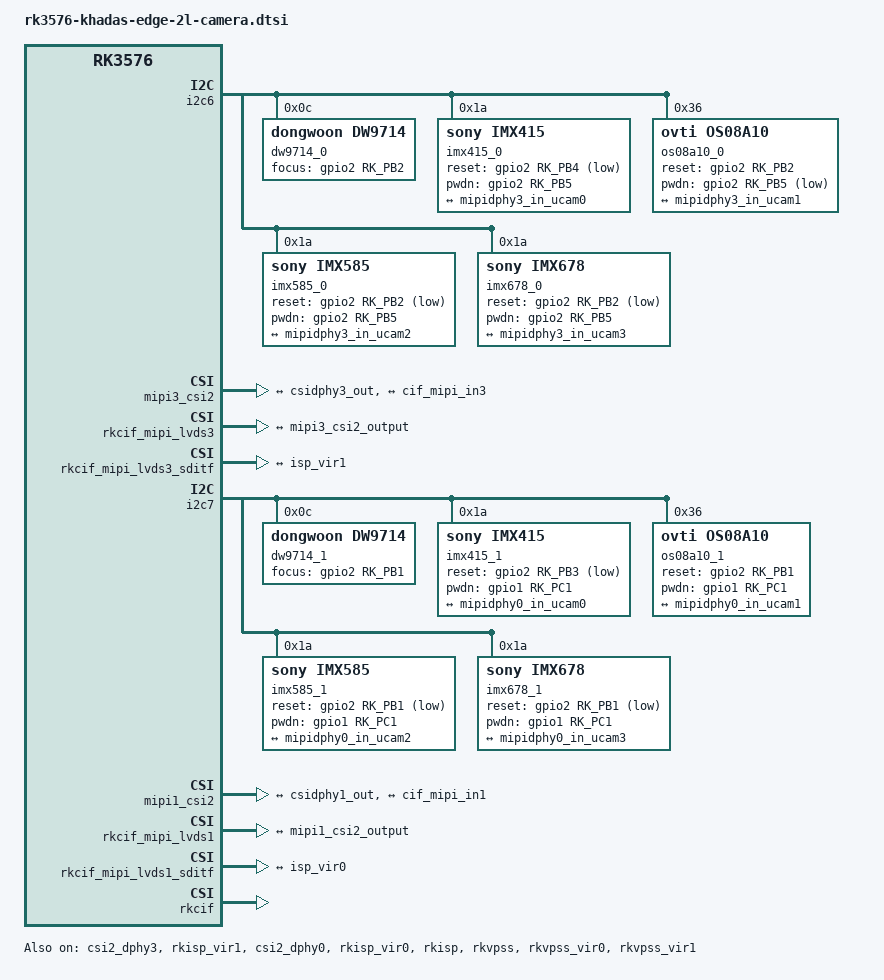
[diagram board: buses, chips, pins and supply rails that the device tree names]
// SPDX-License-Identifier: (GPL-2.0+ OR MIT)
/*
 * Copyright (c) 2025 Wesion Technology Co., Ltd.
 *
 */
/*------------------------- camera0 start------------------------------*/

&i2c6 {
	status = "okay";
	pinctrl-0 = <&i2c6m2_xfer>;

	dw9714_0: dw9714-1@c {
		compatible = "dongwoon,dw9714";
		status = "okay";
		reg = <0x0c>;
		pinctrl-names = "focus_gpio_0";
		pinctrl-0 = <&focus_gpio_0>;
		focus-gpios = <&gpio2 RK_PB2 GPIO_ACTIVE_HIGH>;
		rockchip,vcm-start-current = <0>;
		rockchip,vcm-rated-current = <65>;
		rockchip,vcm-step-mode = <4>;
		rockchip,camera-module-index = <0>;
		rockchip,camera-module-facing = "back";
	};

	imx415_0: imx415-1@1a {
		compatible = "sony,imx415";
		status = "okay";
		reg = <0x1a>;
		clocks = <&cru CLK_MIPI_CAMERAOUT_M1>;
		clock-names = "xvclk";
		pinctrl-names = "default", "cam0_gpios";
		pinctrl-0 = <&cam_clk1m0_clk1>, <&cam0_gpio>;
		power-domains = <&power RK3576_PD_VI>;
		reset-gpios = <&gpio2 RK_PB4 GPIO_ACTIVE_LOW>;
		pwdn-gpios = <&gpio2 RK_PB5 GPIO_ACTIVE_HIGH>;
		rockchip,camera-module-index = <0>;
		rockchip,camera-module-facing = "back";
		rockchip,camera-module-name = "CMK-OT2022-PX1";
		rockchip,camera-module-lens-name = "IR0147-50IRC-8M-F20";
		lens-focus = <&dw9714_0>;
		port {
			imx415_out1: endpoint {
				remote-endpoint = <&mipidphy3_in_ucam0>;
				data-lanes = <1 2 3 4>;
			};
		};
	};

	os08a10_0: os08a10-1@36 {
		compatible = "ovti,os08a10";
		status = "okay";
		reg = <0x36>;
		clocks = <&cru CLK_MIPI_CAMERAOUT_M1>;
		clock-names = "xvclk";
		pinctrl-names = "default", "cam0_gpios";
		pinctrl-0 = <&cam_clk1m0_clk1>, <&cam0_gpio>;
		power-domains = <&power RK3576_PD_VI>;
		reset-gpios = <&gpio2 RK_PB2 GPIO_ACTIVE_HIGH>;
		pwdn-gpios = <&gpio2 RK_PB5 GPIO_ACTIVE_LOW>;
		rockchip,camera-module-index = <0>;
		rockchip,camera-module-facing = "back";
		rockchip,camera-module-name = "default";
		rockchip,camera-module-lens-name = "default";
		port {
			os08a10_out1: endpoint {
				remote-endpoint = <&mipidphy3_in_ucam1>;
				data-lanes = <1 2 3 4>;
			};
		};
	};


	imx585_0: imx585-1@1a {
		compatible = "sony,imx585";
		status = "okay";
		reg = <0x1a>;
		clocks = <&cru CLK_MIPI_CAMERAOUT_M1>;
		clock-names = "xvclk";
		pinctrl-names = "default", "cam0_gpios";
		pinctrl-0 = <&cam_clk1m0_clk1>, <&cam0_gpio>;
		power-domains = <&power RK3576_PD_VI>;
		reset-gpios = <&gpio2 RK_PB2 GPIO_ACTIVE_LOW>;
		pwdn-gpios = <&gpio2 RK_PB5 GPIO_ACTIVE_HIGH>;
		rockchip,camera-module-index = <0>;
		rockchip,camera-module-facing = "back";
		rockchip,camera-module-name = "CMK-IMX585-PX1";
		rockchip,camera-module-lens-name = "FH34SRJ-30SCK0";

		port {
			imx585_out1: endpoint {
				remote-endpoint = <&mipidphy3_in_ucam2>;
				data-lanes = <1 2 3 4>;
			};
		};
	};


	imx678_0: imx678-1@1a {
		compatible = "sony,imx678";
		status = "okay";
		reg = <0x1a>;
		clocks = <&cru CLK_MIPI_CAMERAOUT_M1>;
		clock-names = "xvclk";
		pinctrl-names = "default", "cam0_gpios";
		pinctrl-0 = <&cam_clk1m0_clk1>, <&cam0_gpio>;
		power-domains = <&power RK3576_PD_VI>;
		reset-gpios = <&gpio2 RK_PB2 GPIO_ACTIVE_LOW>;
		pwdn-gpios = <&gpio2 RK_PB5 GPIO_ACTIVE_HIGH>;
		rockchip,camera-module-index = <0>;
		rockchip,camera-module-facing = "back";
		rockchip,camera-module-name = "FH34SRJ-30S";
		rockchip,camera-module-lens-name = "YG4118";
		port {
			imx678_out1: endpoint {
				remote-endpoint = <&mipidphy3_in_ucam3>;
				data-lanes = <1 2 3 4>;
			};
		};
	};
};

&csi2_dphy3 {
	status = "okay";

	ports {
		#address-cells = <1>;
		#size-cells = <0>;
		port@0 {
			reg = <0>;
			#address-cells = <1>;
			#size-cells = <0>;

			mipidphy3_in_ucam0: endpoint@1 {
				reg = <1>;
				remote-endpoint = <&imx415_out1>;
				data-lanes = <1 2 3 4>;
			};

			mipidphy3_in_ucam1: endpoint@2 {
				reg = <2>;
				remote-endpoint = <&os08a10_out1>;
				data-lanes = <1 2 3 4>;
			};
			
			mipidphy3_in_ucam2: endpoint@3 {
				reg = <3>;
				remote-endpoint = <&imx585_out1>;
				data-lanes = <1 2 3 4>;
			};


			mipidphy3_in_ucam3: endpoint@4 {
				reg = <4>;
				remote-endpoint = <&imx678_out1>;
				data-lanes = <1 2 3 4>;
			};
			
		};
		port@1 {
			reg = <1>;
			#address-cells = <1>;
			#size-cells = <0>;

			csidphy3_out: endpoint@0 {
				reg = <0>;
				remote-endpoint = <&mipi3_csi2_input>;
			};
		};
	};
};

&mipi3_csi2 {
	status = "okay";

	ports {
		#address-cells = <1>;
		#size-cells = <0>;

		port@0 {
			reg = <0>;
			#address-cells = <1>;
			#size-cells = <0>;

			mipi3_csi2_input: endpoint@1 {
				reg = <1>;
				remote-endpoint = <&csidphy3_out>;
			};
		};

		port@1 {
			reg = <1>;
			#address-cells = <1>;
			#size-cells = <0>;

			mipi3_csi2_output: endpoint@0 {
				reg = <0>;
				remote-endpoint = <&cif_mipi_in3>;
			};
		};
	};
};

&rkcif_mipi_lvds3 {
	status = "okay";

	port {
		cif_mipi_in3: endpoint {
			remote-endpoint = <&mipi3_csi2_output>;
		};
	};
};

&rkcif_mipi_lvds3_sditf {
	status = "okay";

	port {
		mipi3_lvds_sditf: endpoint {
			remote-endpoint = <&isp_vir1>;
		};
	};
};

&rkisp_vir1 {
	status = "okay";

	port {
		#address-cells = <1>;
		#size-cells = <0>;

		isp_vir1: endpoint@0 {
			reg = <0>;
			remote-endpoint = <&mipi3_lvds_sditf>;
		};
	};
};


/*------------------------- camera0 end------------------------------*/

/*------------------------- camera1 start------------------------------*/

&i2c7 {
	status = "okay";
	pinctrl-0 = <&i2c7m1_xfer>;

	dw9714_1: dw9714-0@c {
		compatible = "dongwoon,dw9714";
		status = "okay";
		reg = <0x0c>;
		pinctrl-names = "focus_gpio_1";
		pinctrl-0 = <&focus_gpio_1>;
		focus-gpios = <&gpio2 RK_PB1 GPIO_ACTIVE_HIGH>;
		rockchip,vcm-start-current = <0>;
		rockchip,vcm-rated-current = <65>;
		rockchip,vcm-step-mode = <4>;
		rockchip,camera-module-index = <1>;
		rockchip,camera-module-facing = "back";
	};

	imx415_1: imx415-0@1a {
		compatible = "sony,imx415";
		status = "okay";
		reg = <0x1a>;
		clocks = <&cru CLK_MIPI_CAMERAOUT_M2>;
		clock-names = "xvclk";
		pinctrl-names = "default", "cam1_gpios";
		pinctrl-0 = <&cam_clk2m0_clk2>, <&cam1_gpio>;
		power-domains = <&power RK3576_PD_VI>;
		reset-gpios = <&gpio2 RK_PB3 GPIO_ACTIVE_LOW>;
		pwdn-gpios = <&gpio1 RK_PC1 GPIO_ACTIVE_HIGH>;
		rockchip,camera-module-index = <1>;
		rockchip,camera-module-facing = "back";
		rockchip,camera-module-name = "CMK-OT2022-PX1";
		rockchip,camera-module-lens-name = "IR0147-50IRC-8M-F20";
		lens-focus = <&dw9714_1>;
		port {
			imx415_out0: endpoint {
				remote-endpoint = <&mipidphy0_in_ucam0>;
				data-lanes = <1 2 3 4>;
			};
		};
	};

	os08a10_1: os08a10-0@36 {
		compatible = "ovti,os08a10";
		status = "okay";
		//status = "disabled";
		reg = <0x36>;
		clocks = <&cru CLK_MIPI_CAMERAOUT_M2>;
		clock-names = "xvclk";
		pinctrl-names = "default", "cam1_gpios";
		pinctrl-0 = <&cam_clk2m0_clk2>, <&cam1_gpio>;
		power-domains = <&power RK3576_PD_VI>;
		reset-gpios = <&gpio2 RK_PB1 GPIO_ACTIVE_HIGH>;
		pwdn-gpios = <&gpio1 RK_PC1 GPIO_ACTIVE_HIGH>;
		rockchip,camera-module-index = <1>;
		rockchip,camera-module-facing = "back";
		rockchip,camera-module-name = "default";
		rockchip,camera-module-lens-name = "default";
		port {
			os08a10_out0: endpoint {
				remote-endpoint = <&mipidphy0_in_ucam1>;
				data-lanes = <1 2 3 4>;
			};
		};
	};

	imx585_1: imx585-0@1a {
		compatible = "sony,imx585";
		status = "okay";
		reg = <0x1a>;
		clocks = <&cru CLK_MIPI_CAMERAOUT_M2>;
		clock-names = "xvclk";
		pinctrl-names = "default", "cam1_gpios";
		pinctrl-0 = <&cam_clk2m0_clk2>, <&cam1_gpio>;
		power-domains = <&power RK3576_PD_VI>;
		reset-gpios = <&gpio2 RK_PB1 GPIO_ACTIVE_LOW>;
		pwdn-gpios = <&gpio1 RK_PC1 GPIO_ACTIVE_HIGH>;
		rockchip,camera-module-index = <1>;
		rockchip,camera-module-facing = "back";
		rockchip,camera-module-name = "CMK-IMX585-PX1";
		rockchip,camera-module-lens-name = "FH34SRJ-30SCK0";
		port {
			imx585_out0: endpoint {
				remote-endpoint = <&mipidphy0_in_ucam2>;
				data-lanes = <1 2 3 4>;
			};
		};
	};

	imx678_1: imx678-0@1a {
		compatible = "sony,imx678";
		status = "okay";
		reg = <0x1a>;
		clocks = <&cru CLK_MIPI_CAMERAOUT_M2>;
		clock-names = "xvclk";
		pinctrl-names = "default", "cam1_gpios";
		pinctrl-0 = <&cam_clk2m0_clk2>, <&cam1_gpio>;
		power-domains = <&power RK3576_PD_VI>;
		reset-gpios = <&gpio2 RK_PB1 GPIO_ACTIVE_LOW>;
		pwdn-gpios = <&gpio1 RK_PC1 GPIO_ACTIVE_HIGH>;
		rockchip,camera-module-index = <1>;
		rockchip,camera-module-facing = "back";
		rockchip,camera-module-name = "FH34SRJ-30S";
		rockchip,camera-module-lens-name = "YG4118";
		port {
			imx678_out0: endpoint {
				remote-endpoint = <&mipidphy0_in_ucam3>;
				data-lanes = <1 2 3 4>;
			};
		};
	};

};

&csi2_dphy0 {
	status = "okay";

	ports {
		#address-cells = <1>;
		#size-cells = <0>;
		port@0 {
			reg = <0>;
			#address-cells = <1>;
			#size-cells = <0>;

			mipidphy0_in_ucam0: endpoint@1 {
				reg = <1>;
				remote-endpoint = <&imx415_out0>;
				data-lanes = <1 2 3 4>;
			};
			mipidphy0_in_ucam1: endpoint@2 {
				reg = <2>;
				remote-endpoint = <&os08a10_out0>;
				data-lanes = <1 2 3 4>;
			};

			mipidphy0_in_ucam2: endpoint@3 {
				reg = <3>;
				remote-endpoint = <&imx585_out0>;
				data-lanes = <1 2 3 4>;
			};

			mipidphy0_in_ucam3: endpoint@4 {
				reg = <4>;
				remote-endpoint = <&imx678_out0>;
				data-lanes = <1 2 3 4>;
			};
		};
		port@1 {
			reg = <1>;
			#address-cells = <1>;
			#size-cells = <0>;

			csidphy1_out: endpoint@0 {
				reg = <0>;
				remote-endpoint = <&mipi1_csi2_input>;
			};
		};
	};
};

&mipi1_csi2 {
	status = "okay";

	ports {
		#address-cells = <1>;
		#size-cells = <0>;

		port@0 {
			reg = <0>;
			#address-cells = <1>;
			#size-cells = <0>;

			mipi1_csi2_input: endpoint@1 {
				reg = <1>;
				remote-endpoint = <&csidphy1_out>;
			};
		};

		port@1 {
			reg = <1>;
			#address-cells = <1>;
			#size-cells = <0>;

			mipi1_csi2_output: endpoint@0 {
				reg = <0>;
				remote-endpoint = <&cif_mipi_in1>;
			};
		};
	};
};

&rkcif_mipi_lvds1 {
	status = "okay";

	port {
		cif_mipi_in1: endpoint {
			remote-endpoint = <&mipi1_csi2_output>;
		};
	};
};

&rkcif_mipi_lvds1_sditf {
	status = "okay";

	port {
		mipi1_lvds_sditf: endpoint {
			remote-endpoint = <&isp_vir0>;
		};
	};
};

&rkisp_vir0 {
	status = "okay";

	port {
		#address-cells = <1>;
		#size-cells = <0>;

		isp_vir0: endpoint@0 {
			reg = <0>;
			remote-endpoint = <&mipi1_lvds_sditf>;
		};
	};
};

/*------------------------- i2c7 end------------------------------*/



&rkcif {
	status = "okay";
};

&rkcif_mmu {
	status = "okay";
};

&rkisp {
	status = "okay";
};

&rkisp_mmu {
	status = "okay";
};

&rkvpss {
	status = "okay";
};

&rkvpss_mmu {
	status = "okay";
};

&rkvpss_vir0 {
	status = "okay";
};

&rkvpss_vir1 {
	status = "okay";
};


&pinctrl {
	cam {

		cam0_gpio: cam0-gpios {
			rockchip,pins =
				<2 RK_PB2 RK_FUNC_GPIO &pcfg_pull_none>,
				<2 RK_PB5 RK_FUNC_GPIO &pcfg_pull_none>;
		};

		cam1_gpio: cam1-gpios {
			rockchip,pins =
				<2 RK_PB1 RK_FUNC_GPIO &pcfg_pull_none>,
				<1 RK_PC1 RK_FUNC_GPIO &pcfg_pull_none>;
		};

		focus_gpio_1: focus-gpio-0 {
			rockchip,pins =
				<2 RK_PB1 RK_FUNC_GPIO &pcfg_pull_none>;
		};
		focus_gpio_0: focus-gpio-1 {
			rockchip,pins =
				<2 RK_PB2 RK_FUNC_GPIO &pcfg_pull_none>;
		};
	};
};

